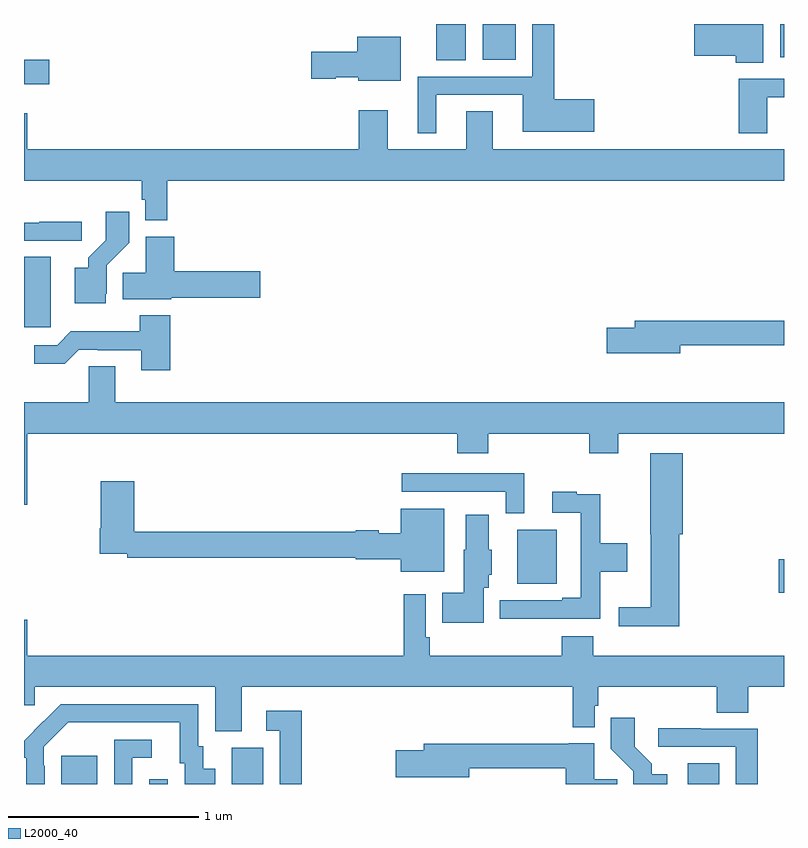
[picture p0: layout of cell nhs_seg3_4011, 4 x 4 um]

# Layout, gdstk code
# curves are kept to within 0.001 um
import gdstk
lib = gdstk.Library(unit=1e-6, precision=1e-09)
def R(c, l, rs):  # rectangles x0, y0, x1, y1
    for r in rs: c.add(gdstk.rectangle(r[:2], r[2:], *l))
def P(c, l, *ps):  # polygons
    for p in ps: c.add(gdstk.Polygon(p, *l))
L2000_40 = (2000, 40)

nhs_seg3_4011 = lib.new_cell('nhs_seg3_4011')
R(nhs_seg3_4011, L2000_40, [(321.197,704.4,321.385,704.548), (321.66,704.4,321.756,704.425), (322.094,704.4,322.258,704.592), (324.494,704.4,324.658,704.509), (324.972,705.406,325,705.584), (323.597,705.455,323.803,705.739), (321,706.803,321.142,707.174), (321,708.083,321.133,708.213), (323.171,708.208,323.326,708.4), (323.414,708.212,323.587,708.4), (324.98,708.224,325,708.4)])
P(nhs_seg3_4011, L2000_40, [(324.892,708.4),(324.528,708.4),(324.528,708.233),(324.746,708.233),(324.746,708.196),(324.892,708.196)],
  [(323.17,708.027),(323.624,708.027),(323.624,707.834),(324.001,707.834),(324.001,708.005),(323.792,708.005),(323.792,708.4),(323.676,708.4),(323.676,708.123),(323.072,708.123),(323.072,707.826),(323.17,707.826)],
  [(322.984,708.334),(322.754,708.334),(322.754,708.254),(322.512,708.254),(322.512,708.112),(322.641,708.112),(322.641,708.119),(322.758,708.119),(322.758,708.101),(322.984,708.101)],
  [(324.913,708.015),(325,708.015),(325,708.111),(324.761,708.111),(324.761,707.826),(324.913,707.826)],
  [(321.755,707.576),(325,707.576),(325,707.74),(323.467,707.74),(323.467,707.942),(323.327,707.942),(323.327,707.74),(322.915,707.74),(322.915,707.947),(322.763,707.947),(322.763,707.74),(321.016,707.74),(321.016,707.929),(321,707.929),(321,707.576),(321.619,707.576),(321.619,707.475),(321.639,707.475),(321.639,707.366),(321.755,707.366)],
  [(321.43,706.98),(321.435,706.98),(321.435,707.131),(321.554,707.25),(321.554,707.413),(321.429,707.413),(321.429,707.261),(321.338,707.171),(321.338,707.116),(321.266,707.116),(321.266,706.931),(321.43,706.931)],
  [(321.304,707.358),(321.079,707.358),(321.079,707.355),(321,707.355),(321,707.259),(321.304,707.259)],
  [(321.774,706.958),(322.243,706.958),(322.243,707.1),(321.791,707.1),(321.791,707.281),(321.641,707.281),(321.641,707.09),(321.52,707.09),(321.52,706.952),(321.774,706.952)],
  [(321.77,706.867),(321.61,706.867),(321.61,706.783),(321.247,706.783),(321.174,706.71),(321.054,706.71),(321.054,706.613),(321.215,706.613),(321.288,706.686),(321.388,706.686),(321.388,706.683),(321.617,706.683),(321.617,706.578),(321.77,706.578)],
  [(324.454,706.71),(325,706.71),(325,706.838),(324.215,706.838),(324.215,706.802),(324.066,706.802),(324.066,706.667),(324.454,706.667)],
  [(321.016,706.244),(323.279,706.244),(323.279,706.142),(323.444,706.142),(323.444,706.244),(323.975,706.244),(323.975,706.142),(324.127,706.142),(324.127,706.244),(325,706.244),(325,706.408),(321.481,706.408),(321.481,706.598),(321.342,706.598),(321.342,706.408),(321,706.408),(321,705.87),(321.016,705.87)],
  [(324.449,705.714),(324.467,705.714),(324.467,706.141),(324.296,706.141),(324.296,705.714),(324.299,705.714),(324.299,705.329),(324.129,705.329),(324.129,705.23),(324.449,705.23)],
  [(323.632,706.035),(322.989,706.035),(322.989,705.939),(323.535,705.939),(323.535,705.824),(323.632,705.824)],
  [(323.212,705.85),(322.982,705.85),(322.982,705.721),(322.866,705.721),(322.866,705.736),(322.746,705.736),(322.746,705.728),(321.581,705.728),(321.581,705.994),(321.403,705.994),(321.403,705.745),(321.398,705.745),(321.398,705.612),(321.544,705.612),(321.544,705.592),(322.746,705.592),(322.746,705.584),(322.982,705.584),(322.982,705.518),(323.212,705.518)],
  [(323.747,705.27),(324.032,705.27),(324.032,705.518),(324.175,705.518),(324.175,705.666),(324.032,705.666),(324.032,705.926),(323.909,705.926),(323.909,705.937),(323.781,705.937),(323.781,705.828),(323.931,705.828),(323.931,705.379),(323.834,705.379),(323.834,705.366),(323.505,705.366),(323.505,705.269),(323.747,705.269)],
  [(323.419,705.432),(323.446,705.432),(323.446,705.501),(323.461,705.501),(323.461,705.633),(323.446,705.633),(323.446,705.817),(323.324,705.817),(323.324,705.633),(323.315,705.633),(323.315,705.406),(323.2,705.406),(323.2,705.248),(323.419,705.248)],
  [(322.147,704.912),(323.887,704.912),(323.887,704.699),(324.003,704.699),(324.003,704.811),(324.023,704.811),(324.023,704.912),(324.647,704.912),(324.647,704.776),(324.812,704.776),(324.812,704.912),(325,704.912),(325,705.076),(323.996,705.076),(323.996,705.178),(323.831,705.178),(323.831,705.076),(323.135,705.076),(323.135,705.172),(323.115,705.172),(323.115,705.4),(322.999,705.4),(322.999,705.076),(321.016,705.076),(321.016,705.265),(321,705.265),(321,704.814),(321.057,704.814),(321.057,704.912),(322.007,704.912),(322.007,704.677),(322.147,704.677)],
  [(321.108,704.495),(321.105,704.495),(321.105,704.595),(321.234,704.724),(321.821,704.724),(321.821,704.508),(321.845,704.508),(321.845,704.4),(322.006,704.4),(322.006,704.479),(321.943,704.479),(321.943,704.598),(321.918,704.598),(321.918,704.82),(321.194,704.82),(321,704.628),(321,704.537),(321.012,704.537),(321.012,704.4),(321.108,704.4)],
  [(322.463,704.785),(322.275,704.785),(322.275,704.679),(322.347,704.679),(322.347,704.4),(322.463,704.4)],
  [(324.385,704.452),(324.304,704.452),(324.304,704.507),(324.214,704.597),(324.214,704.749),(324.088,704.749),(324.088,704.586),(324.207,704.467),(324.207,704.4),(324.385,704.4)],
  [(324.863,704.691),(324.563,704.691),(324.563,704.694),(324.339,704.694),(324.339,704.595),(324.747,704.595),(324.747,704.4),(324.863,704.4)],
  [(321.57,704.538),(321.673,704.538),(321.673,704.634),(321.474,704.634),(321.474,704.4),(321.57,704.4)],
  [(324.122,704.426),(324.001,704.426),(324.001,704.614),(323.868,704.614),(323.868,704.611),(323.105,704.611),(323.105,704.577),(322.956,704.577),(322.956,704.435),(323.344,704.435),(323.344,704.482),(323.852,704.482),(323.852,704.4),(324.122,704.4)])

lib.write_gds('nhs_seg3_4011.gds')
